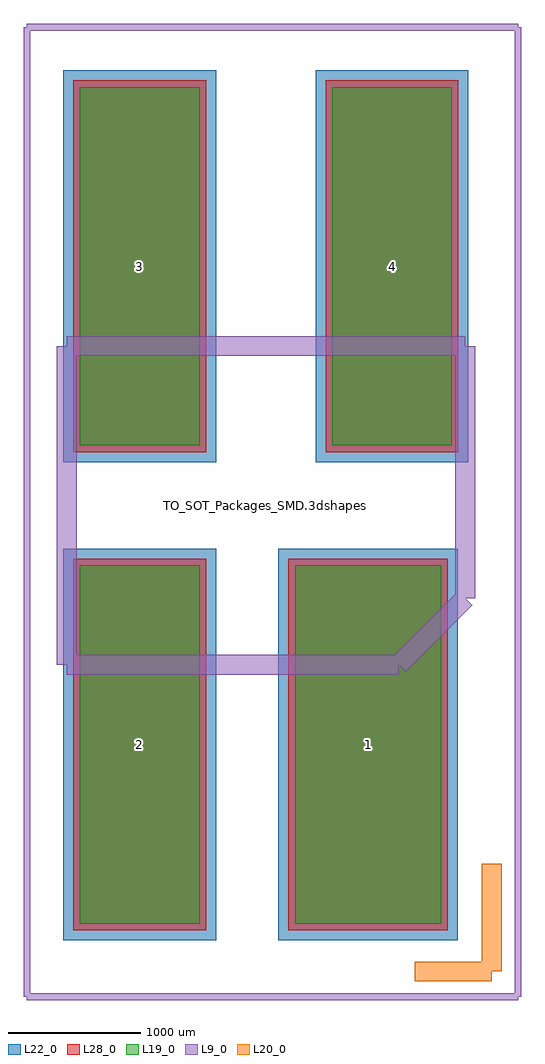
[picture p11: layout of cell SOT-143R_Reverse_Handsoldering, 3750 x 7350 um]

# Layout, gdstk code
import gdstk
lib = gdstk.Library(unit=1e-6, precision=1e-09)
def R(c, l, rs):  # rectangles x0, y0, x1, y1
    for r in rs: c.add(gdstk.rectangle(r[:2], r[2:], *l))
L9_0 = (9, 0)
L19_0 = (19, 0)
L20_0 = (20, 0)
L22_0 = (22, 0)
L28_0 = (28, 0)

sot_143r_reverse_handsol = lib.new_cell('SOT-143R_Reverse_Handsoldering')
R(sot_143r_reverse_handsol, L19_0, [(-1400.34,-3150.4,-499.58,-451.32), (220.18,-3150.4,1319.06,-451.32), (-1400.34,451.32,-499.58,3150.4), (499.58,451.32,1400.34,3150.4)])
R(sot_143r_reverse_handsol, L22_0, [(-1525.34,-3275.4,-374.58,-326.32), (95.18,-3275.4,1444.06,-326.32), (-1525.34,326.32,-374.58,3275.4), (374.58,326.32,1525.34,3275.4)])
R(sot_143r_reverse_handsol, L28_0, [(-1450.34,-3200.4,-449.58,-401.32), (170.18,-3200.4,1369.06,-401.32), (-1450.34,401.32,-449.58,3200.4), (449.58,401.32,1450.34,3200.4)])
sot_143r_reverse_handsol.add(gdstk.FlexPath([(1700,-3510.26),(1120.88,-3510.26)], 149.998, ends="flush", simple_path=True, layer=20, datatype=0))  # L20_0
sot_143r_reverse_handsol.add(gdstk.FlexPath([(1700,-2700),(1700,-3510.26)], 149.998, ends="flush", simple_path=True, layer=20, datatype=0))  # L20_0
sot_143r_reverse_handsol.add(gdstk.FlexPath([(-1500,1200),(1500,1200)], 149.998, ends="flush", simple_path=True, layer=9, datatype=0))  # L9_0
sot_143r_reverse_handsol.add(gdstk.FlexPath([(1500,1200),(1500,-700)], 149.998, ends="flush", simple_path=True, layer=9, datatype=0))  # L9_0
sot_143r_reverse_handsol.add(gdstk.FlexPath([(1000,-1200),(-1500,-1200)], 149.998, ends="flush", simple_path=True, layer=9, datatype=0))  # L9_0
sot_143r_reverse_handsol.add(gdstk.FlexPath([(-1500,-1200),(-1500,1200)], 149.998, ends="flush", simple_path=True, layer=9, datatype=0))  # L9_0
sot_143r_reverse_handsol.add(gdstk.FlexPath([(1500,-700),(1000,-1200)], 149.998, ends="flush", simple_path=True, layer=9, datatype=0))  # L9_0
sot_143r_reverse_handsol.add(gdstk.FlexPath([(-1800,3600),(1900,3600)], 50, ends="flush", simple_path=True, layer=9, datatype=0))  # L9_0
sot_143r_reverse_handsol.add(gdstk.FlexPath([(1900,-3700),(1900,3600)], 50, ends="flush", simple_path=True, layer=9, datatype=0))  # L9_0
sot_143r_reverse_handsol.add(gdstk.FlexPath([(-1800,3600),(-1800,-3700)], 50, ends="flush", simple_path=True, layer=9, datatype=0))  # L9_0
sot_143r_reverse_handsol.add(gdstk.FlexPath([(-1800,-3700),(1900,-3700)], 50, ends="flush", simple_path=True, layer=9, datatype=0))  # L9_0
sot_143r_reverse_handsol.add(gdstk.Label('TO_SOT_Packages_SMD.3dshapes/SOT-143R_Reverse_Handsoldering.wrl', (0,0), layer=12, texttype=0))
sot_143r_reverse_handsol.add(gdstk.Label('3', (-949.96,1800.86), layer=28, texttype=0))
sot_143r_reverse_handsol.add(gdstk.Label('4', (949.96,1800.86), layer=28, texttype=0))
sot_143r_reverse_handsol.add(gdstk.Label('2', (-949.96,-1800.86), layer=28, texttype=0))
sot_143r_reverse_handsol.add(gdstk.Label('1', (769.62,-1800.86), layer=28, texttype=0))
sot_143r_reverse_handsol.add(gdstk.Label('type', (0,-4400), layer=9, texttype=0))
sot_143r_reverse_handsol.add(gdstk.Label('devicename', (0,4300), layer=9, texttype=0))

lib.write_gds('SOT-143R_Reverse_Handsoldering.gds')
